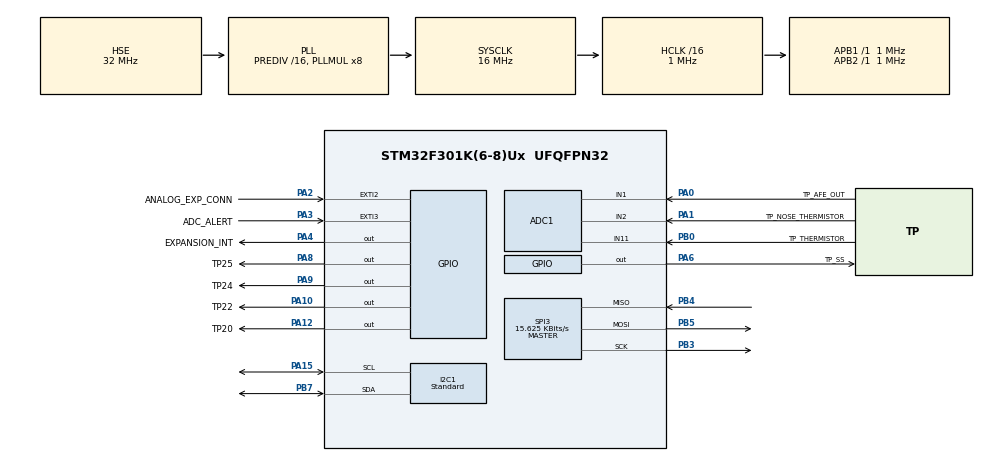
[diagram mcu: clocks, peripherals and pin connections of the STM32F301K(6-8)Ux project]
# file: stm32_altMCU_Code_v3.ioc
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ADC1.Channel-19\#ChannelRegularConversion=ADC_CHANNEL_1
ADC1.Channel-20\#ChannelRegularConversion=ADC_CHANNEL_1
ADC1.Channel-21\#ChannelRegularConversion=ADC_CHANNEL_1
ADC1.Channel-22\#ChannelRegularConversion=ADC_CHANNEL_1
ADC1.Channel-23\#ChannelRegularConversion=ADC_CHANNEL_1
ADC1.Channel-24\#ChannelRegularConversion=ADC_CHANNEL_1
ADC1.Channel-25\#ChannelRegularConversion=ADC_CHANNEL_1
ADC1.Channel-26\#ChannelRegularConversion=ADC_CHANNEL_1
ADC1.Channel-27\#ChannelRegularConversion=ADC_CHANNEL_1
ADC1.Channel-28\#ChannelRegularConversion=ADC_CHANNEL_1
ADC1.Channel-29\#ChannelRegularConversion=ADC_CHANNEL_2
ADC1.Channel-30\#ChannelRegularConversion=ADC_CHANNEL_11
ADC1.ClockPrescaler=ADC_CLOCK_SYNC_PCLK_DIV2
ADC1.ContinuousConvMode=ENABLE
ADC1.DMAContinuousRequests=ENABLE
ADC1.EOCSelection=ADC_EOC_SEQ_CONV
ADC1.ExternalTrigConv=ADC_EXTERNALTRIGCONV_T6_TRGO
ADC1.NbrOfConversion=12
ADC1.NbrOfConversionFlag=1
ADC1.Offset-19\#ChannelRegularConversion=0
ADC1.Offset-20\#ChannelRegularConversion=0
ADC1.Offset-21\#ChannelRegularConversion=0
ADC1.Offset-22\#ChannelRegularConversion=0
ADC1.Offset-23\#ChannelRegularConversion=0
ADC1.Offset-24\#ChannelRegularConversion=0
ADC1.Offset-25\#ChannelRegularConversion=0
ADC1.Offset-26\#ChannelRegularConversion=0
ADC1.Offset-27\#ChannelRegularConversion=0
ADC1.Offset-28\#ChannelRegularConversion=0
ADC1.Offset-29\#ChannelRegularConversion=0
ADC1.Offset-30\#ChannelRegularConversion=0
ADC1.OffsetNumber-19\#ChannelRegularConversion=ADC_OFFSET_NONE
ADC1.OffsetNumber-20\#ChannelRegularConversion=ADC_OFFSET_NONE
ADC1.OffsetNumber-21\#ChannelRegularConversion=ADC_OFFSET_NONE
ADC1.OffsetNumber-22\#ChannelRegularConversion=ADC_OFFSET_NONE
ADC1.OffsetNumber-23\#ChannelRegularConversion=ADC_OFFSET_NONE
ADC1.OffsetNumber-24\#ChannelRegularConversion=ADC_OFFSET_NONE
ADC1.OffsetNumber-25\#ChannelRegularConversion=ADC_OFFSET_NONE
ADC1.OffsetNumber-26\#ChannelRegularConversion=ADC_OFFSET_NONE
ADC1.OffsetNumber-27\#ChannelRegularConversion=ADC_OFFSET_NONE
ADC1.OffsetNumber-28\#ChannelRegularConversion=ADC_OFFSET_NONE
ADC1.OffsetNumber-29\#ChannelRegularConversion=ADC_OFFSET_NONE
ADC1.OffsetNumber-30\#ChannelRegularConversion=ADC_OFFSET_NONE
ADC1.Rank-19\#ChannelRegularConversion=1
ADC1.Rank-20\#ChannelRegularConversion=2
ADC1.Rank-21\#ChannelRegularConversion=3
ADC1.Rank-22\#ChannelRegularConversion=4
ADC1.Rank-23\#ChannelRegularConversion=5
ADC1.Rank-24\#ChannelRegularConversion=6
ADC1.Rank-25\#ChannelRegularConversion=7
ADC1.Rank-26\#ChannelRegularConversion=8
ADC1.Rank-27\#ChannelRegularConversion=9
ADC1.Rank-28\#ChannelRegularConversion=10
ADC1.Rank-29\#ChannelRegularConversion=11
ADC1.Rank-30\#ChannelRegularConversion=12
ADC1.SamplingTime-19\#ChannelRegularConversion=ADC_SAMPLETIME_19CYCLES_5
ADC1.SamplingTime-20\#ChannelRegularConversion=ADC_SAMPLETIME_19CYCLES_5
ADC1.SamplingTime-21\#ChannelRegularConversion=ADC_SAMPLETIME_19CYCLES_5
ADC1.SamplingTime-22\#ChannelRegularConversion=ADC_SAMPLETIME_19CYCLES_5
ADC1.SamplingTime-23\#ChannelRegularConversion=ADC_SAMPLETIME_19CYCLES_5
ADC1.SamplingTime-24\#ChannelRegularConversion=ADC_SAMPLETIME_19CYCLES_5
ADC1.SamplingTime-25\#ChannelRegularConversion=ADC_SAMPLETIME_19CYCLES_5
ADC1.SamplingTime-26\#ChannelRegularConversion=ADC_SAMPLETIME_19CYCLES_5
ADC1.SamplingTime-27\#ChannelRegularConversion=ADC_SAMPLETIME_19CYCLES_5
ADC1.SamplingTime-28\#ChannelRegularConversion=ADC_SAMPLETIME_19CYCLES_5
ADC1.SamplingTime-29\#ChannelRegularConversion=ADC_SAMPLETIME_61CYCLES_5
ADC1.SamplingTime-30\#ChannelRegularConversion=ADC_SAMPLETIME_61CYCLES_5
ADC1.master=1
Dma.ADC1.0.Direction=DMA_PERIPH_TO_MEMORY
Dma.ADC1.0.Instance=DMA1_Channel1
Dma.ADC1.0.MemDataAlignment=DMA_MDATAALIGN_HALFWORD
Dma.ADC1.0.MemInc=DMA_MINC_ENABLE
Dma.ADC1.0.Mode=DMA_NORMAL
Dma.ADC1.0.PeriphDataAlignment=DMA_PDATAALIGN_HALFWORD
Dma.ADC1.0.PeriphInc=DMA_PINC_DISABLE
Dma.ADC1.0.Priority=DMA_PRIORITY_LOW
Dma.Request0=ADC1
FREERTOS.Tasks01=defaultTask,24,128,StartDefaultTask,Default,NULL
FREERTOS.configTOTAL_HEAP_SIZE=5000
I2C1.Analog_Filter=I2C_ANALOGFILTER_DISABLE
I2C1.I2C_Rise_Time=0
I2C1.I2C_Speed_Mode=I2C_Standard
I2C1.OwnAddress=0x73
I2C1.Timing=0x00303D5D
Mcu.Family=STM32F3
Mcu.Name=STM32F301K(6-8)Ux
Mcu.Package=UFQFPN32
NVIC.DMA1_Channel1_IRQn=true\:5\:0\:false\:false\:true\:true\:false\:true
NVIC.I2C1_EV_IRQn=true\:5\:0\:false\:false\:true\:true\:true\:true
NVIC.PriorityGroup=NVIC_PRIORITYGROUP_4
NVIC.SPI3_IRQn=true\:5\:0\:false\:false\:true\:true\:true\:true
NVIC.TIM1_UP_TIM16_IRQn=true\:0\:0\:false\:false\:true\:false\:false\:true
NVIC.TIM2_IRQn=true\:5\:0\:false\:false\:true\:true\:true\:true
NVIC.TimeBase=TIM1_UP_TIM16_IRQn
NVIC.TimeBaseIP=TIM1
PA0.GPIO_Label=TP_AFE_OUT
PA0.Mode=IN1-Single-Ended
PA0.Signal=ADC1_IN1
PA1.GPIO_Label=TP_NOSE_THERMISTOR
PA1.Mode=IN2-Single-Ended
PA1.Signal=ADC1_IN2
PA10.GPIO_Label=TP22
PA10.GPIO_ModeDefaultOutputPP=GPIO_MODE_OUTPUT_PP
PA10.GPIO_PuPd=GPIO_NOPULL
PA10.GPIO_Speed=GPIO_SPEED_FREQ_LOW
PA10.PinState=GPIO_PIN_RESET
PA10.Signal=GPIO_Output
PA12.GPIO_Label=TP20
PA12.GPIO_ModeDefaultOutputPP=GPIO_MODE_OUTPUT_PP
PA12.GPIO_PuPd=GPIO_NOPULL
PA12.GPIO_Speed=GPIO_SPEED_FREQ_LOW
PA12.PinState=GPIO_PIN_RESET
PA12.Signal=GPIO_Output
PA13.Mode=Serial_Wire
PA13.Signal=SYS_JTMS-SWDIO
PA14.Mode=Serial_Wire
PA14.Signal=SYS_JTCK-SWCLK
PA15.GPIO_Mode=GPIO_MODE_AF_OD
PA15.GPIO_PuPdOD=GPIO_NOPULL
PA15.GPIO_Speed=GPIO_SPEED_FREQ_HIGH
PA15.Mode=I2C
PA15.Signal=I2C1_SCL
PA2.GPIO_Label=ANALOG_EXP_CONN
PA2.GPIO_ModeDefaultEXTI=GPIO_MODE_IT_RISING
PA2.GPIO_PuPd=GPIO_NOPULL
PA2.Signal=GPXTI2
PA3.GPIO_Label=ADC_ALERT
PA3.GPIO_ModeDefaultEXTI=GPIO_MODE_IT_RISING
PA3.GPIO_PuPd=GPIO_NOPULL
PA3.Signal=GPXTI3
PA4.GPIO_Label=EXPANSION_INT
PA4.GPIO_PuPd=GPIO_NOPULL
PA4.Signal=GPIO_Output
PA6.GPIO_Label=TP_SS
PA6.GPIO_ModeDefaultOutputPP=GPIO_MODE_OUTPUT_PP
PA6.GPIO_PuPd=GPIO_NOPULL
PA6.GPIO_Speed=GPIO_SPEED_FREQ_LOW
PA6.PinState=GPIO_PIN_SET
PA6.Signal=GPIO_Output
PA8.GPIO_Label=TP25
PA8.GPIO_ModeDefaultOutputPP=GPIO_MODE_OUTPUT_PP
PA8.GPIO_PuPd=GPIO_NOPULL
PA8.GPIO_Speed=GPIO_SPEED_FREQ_LOW
PA8.PinState=GPIO_PIN_RESET
PA8.Signal=GPIO_Output
PA9.GPIO_Label=TP24
PA9.GPIO_ModeDefaultOutputPP=GPIO_MODE_OUTPUT_PP
PA9.GPIO_PuPd=GPIO_NOPULL
PA9.GPIO_Speed=GPIO_SPEED_FREQ_LOW
PA9.PinState=GPIO_PIN_RESET
PA9.Signal=GPIO_Output
PB0.GPIO_Label=TP_THERMISTOR
PB0.Mode=IN11-Single-Ended
PB0.Signal=ADC1_IN11
PB3.Mode=Full_Duplex_Master
PB3.Signal=SPI3_SCK
PB4.Mode=Full_Duplex_Master
PB4.Signal=SPI3_MISO
PB5.Mode=Full_Duplex_Master
PB5.Signal=SPI3_MOSI
PB7.GPIO_FM7=__NULL
PB7.GPIO_Mode=GPIO_MODE_AF_OD
PB7.GPIO_PuPdOD=GPIO_NOPULL
PB7.GPIO_Speed=GPIO_SPEED_FREQ_HIGH
PB7.Mode=I2C
PB7.Signal=I2C1_SDA
PF0-OSC_IN.Mode=HSE-External-Oscillator
PF0-OSC_IN.Signal=RCC_OSC_IN
PF1-OSC_OUT.Mode=HSE-External-Oscillator
PF1-OSC_OUT.Signal=RCC_OSC_OUT
ProjectManager.HeapSize=0x200
ProjectManager.StackSize=0x400
ProjectManager.TargetToolchain=STM32CubeIDE
RCC.AHBCLKDivider=RCC_SYSCLK_DIV16
RCC.AHBFreq_Value=1000000
RCC.APB1Freq_Value=1000000
RCC.APB1TimFreq_Value=1000000
RCC.APB2Freq_Value=1000000
RCC.APB2TimFreq_Value=1000000
RCC.CortexFreq_Value=1000000
RCC.HCLKFreq_Value=1000000
RCC.HSE_VALUE=32000000
RCC.HSI_VALUE=8000000
RCC.I2c1ClockSelection=RCC_I2C1CLKSOURCE_SYSCLK
RCC.PLLMUL=RCC_PLL_MUL8
RCC.PLLSourceVirtual=RCC_PLLSOURCE_HSE
RCC.RCC_PLLsource_Clock_Source_FROM_HSE=RCC_HSE_PREDIV_DIV16
RCC.SYSCLKFreq_VALUE=16000000
RCC.SYSCLKSourceVirtual=RCC_SYSCLKSOURCE_PLLCLK
SPI3.BaudRatePrescaler=SPI_BAUDRATEPRESCALER_64
SPI3.CLKPhase=SPI_PHASE_1EDGE
SPI3.CLKPolarity=SPI_POLARITY_LOW
SPI3.CalculateBaudRate=15.625 KBits/s
SPI3.DataSize=SPI_DATASIZE_8BIT
SPI3.Direction=SPI_DIRECTION_2LINES
SPI3.Mode=SPI_MODE_MASTER
SPI3.VirtualType=VM_MASTER
TIM2.AutoReloadPreload=TIM_AUTORELOAD_PRELOAD_ENABLE
TIM2.Channel-Output\ Compare2\ No\ Output=TIM_CHANNEL_2
TIM2.Period=4
TIM2.Prescaler=999
TIM2.Pulse-Output\ Compare2\ No\ Output=10
TIM2.TIM_MasterOutputTrigger=TIM_TRGO_UPDATE
TIM6.AutoReloadPreload=TIM_AUTORELOAD_PRELOAD_DISABLE
TIM6.Period=49
TIM6.Prescaler=999
TIM6.TIM_MasterOutputTrigger=TIM_TRGO_UPDATE
VP_FREERTOS_VS_CMSIS_V2.Mode=CMSIS_V2
VP_RTC_VS_RTC_Activate.Mode=RTC_Enabled
VP_SYS_VS_tim1.Mode=TIM1
VP_TIM2_VS_ClockSourceINT.Mode=Internal
VP_TIM2_VS_no_output2.Mode=Output Compare2 No Output
VP_TIM6_VS_ClockSourceINT.Mode=Enable_Timer
board=custom

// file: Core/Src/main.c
/* USER CODE BEGIN Header */
/**
  ******************************************************************************
  * @file           : main.c
  * @brief          : Main program body
  ******************************************************************************
  * @attention
  *
  * <h2><center>&copy; Copyright (c) 2019 STMicroelectronics.
  * All rights reserved.</center></h2>
  *
  * This software component is licensed by ST under Ultimate Liberty license
  * SLA0044, the "License"; You may not use this file except in compliance with
  * the License. You may obtain a copy of the License at:
  *                             www.st.com/SLA0044
  *
  ******************************************************************************
  */
/* USER CODE END Header */

#include "main.h"
#include "cmsis_os.h"
#include "adc.h"
#include "dma.h"
#include "i2c.h"
#include "rtc.h"
#include "spi.h"
#include "tim.h"
#include "gpio.h"

void SystemClock_Config(void);
void MX_FREERTOS_Init(void);

int main(void)
{

  /* MCU Configuration--------------------------------------------------------*/

  /* Reset of all peripherals, Initializes the Flash interface and the Systick. */
  HAL_Init();

  /* Configure the system clock */
  SystemClock_Config();

  /* Initialize all configured peripherals */
  MX_DMA_Init();
  MX_GPIO_Init();
  MX_I2C1_Init();
  MX_SPI3_Init();
  MX_ADC1_Init();
  MX_TIM2_Init();
  MX_RTC_Init();
  MX_TIM6_Init();

  /* Init scheduler */
  osKernelInitialize();  /* Call init function for freertos objects (in freertos.c) */
  MX_FREERTOS_Init();
  /* Start scheduler */
  osKernelStart();

  /* We should never get here as control is now taken by the scheduler */
  /* Infinite loop */
  /* USER CODE BEGIN WHILE */
//  uint8_t test;
//  InertialSensingTask(&test);
  while (1)
  {
    /* USER CODE END WHILE */

  }
}

void SystemClock_Config(void)
{
  RCC_OscInitTypeDef RCC_OscInitStruct = {0};
  RCC_ClkInitTypeDef RCC_ClkInitStruct = {0};
  RCC_PeriphCLKInitTypeDef PeriphClkInit = {0};

  /** Initializes the CPU, AHB and APB busses clocks
  */
  RCC_OscInitStruct.OscillatorType = RCC_OSCILLATORTYPE_LSI|RCC_OSCILLATORTYPE_HSE;
  RCC_OscInitStruct.HSEState = RCC_HSE_ON;
  RCC_OscInitStruct.HSEPredivValue = RCC_HSE_PREDIV_DIV16;
  RCC_OscInitStruct.HSIState = RCC_HSI_ON;
  RCC_OscInitStruct.LSIState = RCC_LSI_ON;
  RCC_OscInitStruct.PLL.PLLState = RCC_PLL_ON;
  RCC_OscInitStruct.PLL.PLLSource = RCC_PLLSOURCE_HSE;
  RCC_OscInitStruct.PLL.PLLMUL = RCC_PLL_MUL8;
  if (HAL_RCC_OscConfig(&RCC_OscInitStruct) != HAL_OK)
  {
    Error_Handler();
  }
  /** Initializes the CPU, AHB and APB busses clocks
  */
  RCC_ClkInitStruct.ClockType = RCC_CLOCKTYPE_HCLK|RCC_CLOCKTYPE_SYSCLK
                              |RCC_CLOCKTYPE_PCLK1|RCC_CLOCKTYPE_PCLK2;
  RCC_ClkInitStruct.SYSCLKSource = RCC_SYSCLKSOURCE_PLLCLK;
  RCC_ClkInitStruct.AHBCLKDivider = RCC_SYSCLK_DIV16;
  RCC_ClkInitStruct.APB1CLKDivider = RCC_HCLK_DIV1;
  RCC_ClkInitStruct.APB2CLKDivider = RCC_HCLK_DIV1;

  if (HAL_RCC_ClockConfig(&RCC_ClkInitStruct, FLASH_LATENCY_0) != HAL_OK)
  {
    Error_Handler();
  }
  PeriphClkInit.PeriphClockSelection = RCC_PERIPHCLK_I2C1|RCC_PERIPHCLK_RTC;
  PeriphClkInit.I2c1ClockSelection = RCC_I2C1CLKSOURCE_SYSCLK;
  PeriphClkInit.RTCClockSelection = RCC_RTCCLKSOURCE_LSI;
  if (HAL_RCCEx_PeriphCLKConfig(&PeriphClkInit) != HAL_OK)
  {
    Error_Handler();
  }
}

 /**
  * @brief  Period elapsed callback in non blocking mode
  * @note   This function is called  when TIM1 interrupt took place, inside
  * HAL_TIM_IRQHandler(). It makes a direct call to HAL_IncTick() to increment
  * a global variable "uwTick" used as application time base.
  * @param  htim : TIM handle
  * @retval None
  */
void HAL_TIM_PeriodElapsedCallback(TIM_HandleTypeDef *htim)
{
  if (htim->Instance == TIM1) {
    HAL_IncTick();
  }
}

void Error_Handler(void)
{
}

/************************ (C) COPYRIGHT STMicroelectronics *****END OF FILE****/

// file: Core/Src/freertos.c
/* USER CODE BEGIN Header */
/**
  ******************************************************************************
  * File Name          : freertos.c
  * Description        : Code for freertos applications
  ******************************************************************************
  * @attention
  *
  * <h2><center>&copy; Copyright (c) 2019 STMicroelectronics.
  * All rights reserved.</center></h2>
  *
  * This software component is licensed by ST under Ultimate Liberty license
  * SLA0044, the "License"; You may not use this file except in compliance with
  * the License. You may obtain a copy of the License at:
  *                             www.st.com/SLA0044
  *
  ******************************************************************************
  */
/* USER CODE END Header */

#include "FreeRTOS.h"
#include "task.h"
#include "main.h"
#include "cmsis_os.h"

/* USER CODE BEGIN Includes */
#include "thermopile.h"
#include "config.h"
#include "master_thread.h"
#include "freertos.h"
#include "inter_processor_comms.h"
/* USER CODE END Includes */

/* Definitions for defaultTask */
//osThreadId_t defaultTaskHandle;
//const osThreadAttr_t defaultTask_attributes = {
//  .name = "defaultTask",
//  .priority = (osPriority_t) osPriorityNormal,
//  .stack_size = 128 * 4
//};

void StartDefaultTask(void *argument);

void MX_FREERTOS_Init(void); /* (MISRA C 2004 rule 8.1) */

void MX_FREERTOS_Init(void) {

  /* Create the thread(s) */
  /* creation of defaultTask */

  //defaultTaskHandle = osThreadNew(StartDefaultTask, NULL, &defaultTask_attributes);

  /* USER CODE BEGIN RTOS_THREADS */
  /* add threads, ... */
    const osThreadAttr_t thermopileTask_attributes = {
    .name = "thermopileTask",
    .priority = (osPriority_t) osPriorityNormal,
    .stack_size = 512*2
  };
    thermopileTaskHandle = osThreadNew(ThermopileTask, NULL, &thermopileTask_attributes);

//
  const osThreadAttr_t masterThreadTask_attributes = {
        .name = "masterThreadTask",
        .priority = (osPriority_t) osPriorityLow,
        .stack_size = 512*2
      };
  masterThreadTaskHandle = osThreadNew(MasterThreadTask, NULL, &masterThreadTask_attributes);
//
  const osThreadAttr_t sendMsgToMainTask_attributes = {
          .name = "sendMsgToMainTask",
          .priority = (osPriority_t) osPriorityNormal,
          .stack_size = 512*2
        };
  sendMsgToMainTaskHandle = osThreadNew(SendPacketToMainTask, NULL, &sendMsgToMainTask_attributes);

//  const osThreadAttr_t receivePacketFromMainTask_attributes = {
//            .name = "receivePacketFromMainTask",
//            .priority = (osPriority_t) osPriorityNormal,
//            .stack_size = 128
//          };
//  receivePacketFromMainTaskHandle = osThreadNew(ReceivePacketFromMainTask, NULL, &receivePacketFromMainTask_attributes);

  sendMsgToMainQueueHandle = osMessageQueueNew (4, sizeof(struct secondaryProcessorData), NULL);
  togLoggingQueueHandle = osMessageQueueNew (2, sizeof(struct LogMessage), NULL);
  thermMsgQueueHandle = osMessageQueueNew (10, sizeof(struct thermopilePackagedData), NULL);

//  inertialSensingQueueHandle = osMessageQueueNew (3, sizeof(struct inertialData), NULL);
//  activitySampleQueueHandle = osMessageQueueNew (10, sizeof(struct activityData), NULL);
//  rotationSampleQueueHandle = osMessageQueueNew (3, sizeof(struct rotationData), NULL);
//  stepSampleQueueHandle = osMessageQueueNew (3, sizeof(struct stepData), NULL);
//  stabilitySampleQueueHandle = osMessageQueueNew (3, sizeof(struct stabilityData), NULL);
//
//  messageI2C_LockSem = osSemaphoreNew (1, 1, NULL);

  /* USER CODE END RTOS_THREADS */

}

void StartDefaultTask(void *argument)
{
  /* USER CODE BEGIN StartDefaultTask */
  /* Infinite loop */
  for(;;)
  {
    osDelay(10000);
  }
  /* USER CODE END StartDefaultTask */
}

/************************ (C) COPYRIGHT STMicroelectronics *****END OF FILE****/
